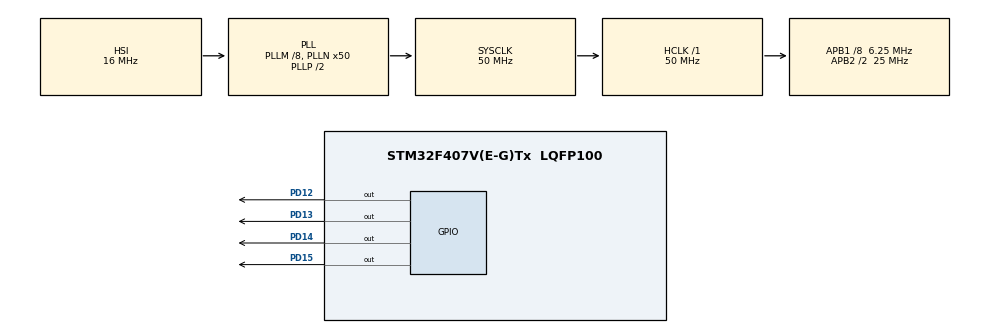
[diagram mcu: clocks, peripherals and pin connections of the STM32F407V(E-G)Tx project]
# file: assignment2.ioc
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FREERTOS.INCLUDE_vTaskDelayUntil=1
FREERTOS.Tasks01=defaultTask,-3,128,StartDefaultTask,Default,NULL,Dynamic,NULL,NULL
FREERTOS.configUSE_NEWLIB_REENTRANT=1
Mcu.Family=STM32F4
Mcu.Name=STM32F407V(E-G)Tx
Mcu.Package=LQFP100
NVIC.PriorityGroup=NVIC_PRIORITYGROUP_4
NVIC.TIM1_UP_TIM10_IRQn=true\:15\:0\:false\:false\:true\:false\:false\:true\:true
NVIC.TimeBase=TIM1_UP_TIM10_IRQn
NVIC.TimeBaseIP=TIM1
PD12.Signal=GPIO_Output
PD13.Signal=GPIO_Output
PD14.Signal=GPIO_Output
PD15.Signal=GPIO_Output
ProjectManager.HeapSize=0x200
ProjectManager.StackSize=0x400
ProjectManager.TargetToolchain=STM32CubeIDE
RCC.48MHZClocksFreq_Value=14285714.285714285
RCC.AHBFreq_Value=50000000
RCC.APB1CLKDivider=RCC_HCLK_DIV8
RCC.APB1Freq_Value=6250000
RCC.APB1TimFreq_Value=12500000
RCC.APB2CLKDivider=RCC_HCLK_DIV2
RCC.APB2Freq_Value=25000000
RCC.APB2TimFreq_Value=50000000
RCC.CortexFreq_Value=50000000
RCC.HCLKFreq_Value=50000000
RCC.HSE_VALUE=8000000
RCC.HSI_VALUE=16000000
RCC.PLLM=8
RCC.PLLN=50
RCC.PLLQ=7
RCC.SYSCLKFreq_VALUE=50000000
RCC.SYSCLKSource=RCC_SYSCLKSOURCE_PLLCLK
RCC.VCOOutputFreq_Value=100000000
VP_FREERTOS_VS_CMSIS_V1.Mode=CMSIS_V1
VP_SYS_VS_tim1.Mode=TIM1
board=STM32F407G-DISC1

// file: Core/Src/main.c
/* USER CODE BEGIN Header */
/**
  ******************************************************************************
  * @file           : main.c
  * @brief          : Main program body
  ******************************************************************************
  * @attention
  *
  * Copyright (c) 2024 STMicroelectronics.
  * All rights reserved.
  *
  * This software is licensed under terms that can be found in the LICENSE file
  * in the root directory of this software component.
  * If no LICENSE file comes with this software, it is provided AS-IS.
  *
  ******************************************************************************
  */
/* USER CODE END Header */
#include "main.h"
#include "cmsis_os.h"

/* USER CODE BEGIN Includes */
void vLedTask(void * param)
{
	uint16_t pvPIN = (uint16_t)param;
	portTickType wakeuptime = xTaskGetTickCount();
			while(1)
			{
				HAL_GPIO_TogglePin(GPIOD, pvPIN);
				vTaskDelayUntil(&wakeuptime, 1000 / portTICK_RATE_MS);
			}
			vTaskDelete(NULL);
}
/* USER CODE END Includes */

osThreadId defaultTaskHandle;

void SystemClock_Config(void);
static void MX_GPIO_Init(void);
void StartDefaultTask(void const * argument);

int main(void)
{

  /* USER CODE BEGIN 1 */
	 BaseType_t ret;
  /* USER CODE END 1 */

  /* MCU Configuration--------------------------------------------------------*/

  /* Reset of all peripherals, Initializes the Flash interface and the Systick. */
  HAL_Init();

  /* Configure the system clock */
  SystemClock_Config();

  /* USER CODE BEGIN SysInit */
    ret = xTaskCreate(vLedTask, "pin12_task", configMINIMAL_STACK_SIZE, GPIO_PIN_12, 2, NULL);
    if(ret != pdTRUE)
  	  Error_Handler();
    ret = xTaskCreate(vLedTask, "pin13_task", configMINIMAL_STACK_SIZE, GPIO_PIN_13, 2, NULL);
    if(ret != pdTRUE)
  	  Error_Handler();
    ret = xTaskCreate(vLedTask, "pin14_task", configMINIMAL_STACK_SIZE, GPIO_PIN_14, 2, NULL);
    if(ret != pdTRUE)
  	 Error_Handler();
    ret = xTaskCreate(vLedTask, "pin15_task", configMINIMAL_STACK_SIZE, GPIO_PIN_15, 2, NULL);
    if(ret != pdTRUE)
  	 Error_Handler();
  /* USER CODE END SysInit */

  /* Initialize all configured peripherals */
  MX_GPIO_Init();

  /* Create the thread(s) */
  /* definition and creation of defaultTask */
  osThreadDef(defaultTask, StartDefaultTask, osPriorityIdle, 0, 128);
  defaultTaskHandle = osThreadCreate(osThread(defaultTask), NULL);

  /* Start scheduler */
  osKernelStart();

  /* We should never get here as control is now taken by the scheduler */

  /* Infinite loop */
  while (1)
  {

  }
}

void SystemClock_Config(void)
{
  RCC_OscInitTypeDef RCC_OscInitStruct = {0};
  RCC_ClkInitTypeDef RCC_ClkInitStruct = {0};

  /** Configure the main internal regulator output voltage
  */
  __HAL_RCC_PWR_CLK_ENABLE();
  __HAL_PWR_VOLTAGESCALING_CONFIG(PWR_REGULATOR_VOLTAGE_SCALE1);

  /** Initializes the RCC Oscillators according to the specified parameters
  * in the RCC_OscInitTypeDef structure.
  */
  RCC_OscInitStruct.OscillatorType = RCC_OSCILLATORTYPE_HSI;
  RCC_OscInitStruct.HSIState = RCC_HSI_ON;
  RCC_OscInitStruct.HSICalibrationValue = RCC_HSICALIBRATION_DEFAULT;
  RCC_OscInitStruct.PLL.PLLState = RCC_PLL_ON;
  RCC_OscInitStruct.PLL.PLLSource = RCC_PLLSOURCE_HSI;
  RCC_OscInitStruct.PLL.PLLM = 8;
  RCC_OscInitStruct.PLL.PLLN = 50;
  RCC_OscInitStruct.PLL.PLLP = RCC_PLLP_DIV2;
  RCC_OscInitStruct.PLL.PLLQ = 7;
  if (HAL_RCC_OscConfig(&RCC_OscInitStruct) != HAL_OK)
  {
    Error_Handler();
  }

  /** Initializes the CPU, AHB and APB buses clocks
  */
  RCC_ClkInitStruct.ClockType = RCC_CLOCKTYPE_HCLK|RCC_CLOCKTYPE_SYSCLK
                              |RCC_CLOCKTYPE_PCLK1|RCC_CLOCKTYPE_PCLK2;
  RCC_ClkInitStruct.SYSCLKSource = RCC_SYSCLKSOURCE_PLLCLK;
  RCC_ClkInitStruct.AHBCLKDivider = RCC_SYSCLK_DIV1;
  RCC_ClkInitStruct.APB1CLKDivider = RCC_HCLK_DIV8;
  RCC_ClkInitStruct.APB2CLKDivider = RCC_HCLK_DIV2;

  if (HAL_RCC_ClockConfig(&RCC_ClkInitStruct, FLASH_LATENCY_1) != HAL_OK)
  {
    Error_Handler();
  }
}

static void MX_GPIO_Init(void)
{
  GPIO_InitTypeDef GPIO_InitStruct = {0};

  /* GPIO Ports Clock Enable */
  __HAL_RCC_GPIOD_CLK_ENABLE();

  /*Configure GPIO pin Output Level */
  HAL_GPIO_WritePin(GPIOD, GPIO_PIN_12|GPIO_PIN_13|GPIO_PIN_14|GPIO_PIN_15, GPIO_PIN_RESET);

  /*Configure GPIO pins : PD12 PD13 PD14 PD15 */
  GPIO_InitStruct.Pin = GPIO_PIN_12|GPIO_PIN_13|GPIO_PIN_14|GPIO_PIN_15;
  GPIO_InitStruct.Mode = GPIO_MODE_OUTPUT_PP;
  GPIO_InitStruct.Pull = GPIO_NOPULL;
  GPIO_InitStruct.Speed = GPIO_SPEED_FREQ_LOW;
  HAL_GPIO_Init(GPIOD, &GPIO_InitStruct);

}

void StartDefaultTask(void const * argument)
{
  for(;;)
  {
    osDelay(1);
  }
}

void HAL_TIM_PeriodElapsedCallback(TIM_HandleTypeDef *htim)
{
  if (htim->Instance == TIM1) {
    HAL_IncTick();
  }
}

void Error_Handler(void)
{
  __disable_irq();
  while (1)
  {
  }
}
